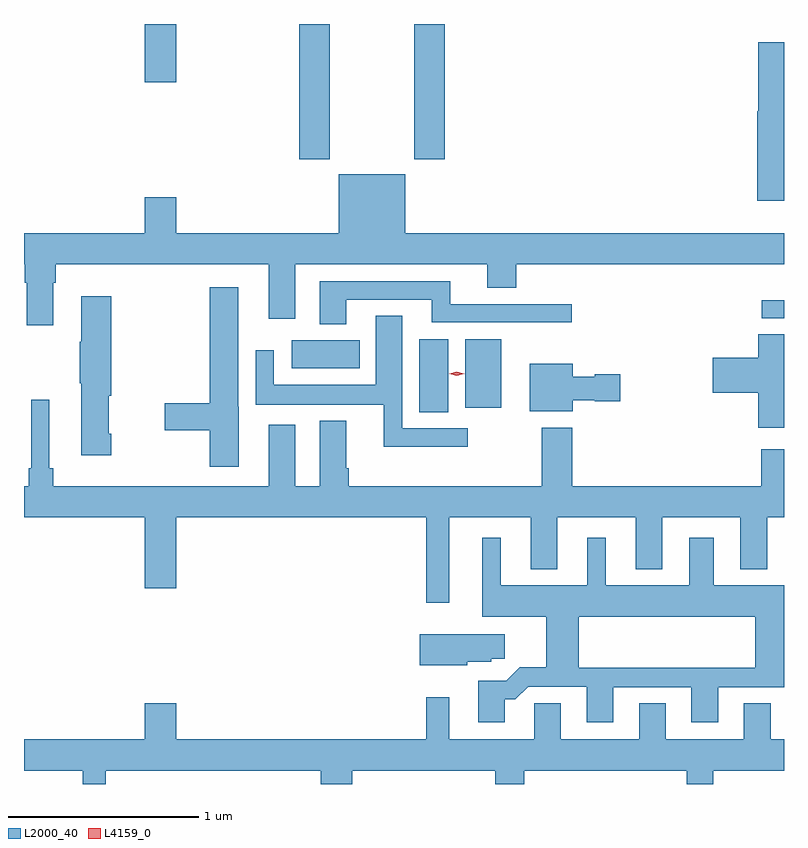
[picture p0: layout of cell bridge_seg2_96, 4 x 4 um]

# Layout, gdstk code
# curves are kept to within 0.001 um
import gdstk
lib = gdstk.Library(unit=1e-6, precision=1e-09)
def R(c, l, rs):  # rectangles x0, y0, x1, y1
    for r in rs: c.add(gdstk.rectangle(r[:2], r[2:], *l))
def P(c, l, *ps):  # polygons
    for p in ps: c.add(gdstk.Polygon(p, *l))
L2000_40 = (2000, 40)
L4159_0 = (4159, 0)

bridge_seg2_96 = lib.new_cell('bridge_seg2_96')
R(bridge_seg2_96, L2000_40, [(274.343,621.55,274.498,621.934), (274.586,621.572,274.777,621.934), (273.672,621.782,274.03,621.928), (276.147,622.044,276.264,622.14), (273.713,622.881,273.873,623.593), (274.318,622.881,274.478,623.593), (272.9,623.286,273.064,623.593)])
P(bridge_seg2_96, L2000_40, [(276.264,623.497),(276.128,623.497),(276.128,623.133),(276.122,623.133),(276.122,622.662),(276.264,622.662)],
  [(272.419,622.232),(272.432,622.232),(272.432,622.328),(273.551,622.328),(273.551,622.041),(273.691,622.041),(273.691,622.328),(274.703,622.328),(274.703,622.204),(274.856,622.204),(274.856,622.328),(276.264,622.328),(276.264,622.492),(274.27,622.492),(274.27,622.801),(273.92,622.801),(273.92,622.492),(273.064,622.492),(273.064,622.681),(272.9,622.681),(272.9,622.492),(272.264,622.492),(272.264,622.328),(272.267,622.328),(272.267,622.232),(272.279,622.232),(272.279,622.008),(272.419,622.008)],
  [(273.961,622.143),(274.409,622.143),(274.409,622.023),(274.873,622.023),(274.873,622.022),(275.146,622.022),(275.146,622.119),(274.508,622.119),(274.508,622.239),(273.821,622.239),(273.821,622.014),(273.961,622.014)],
  [(273.394,621.579),(273.391,621.579),(273.391,622.207),(273.242,622.207),(273.242,621.596),(273.006,621.596),(273.006,621.454),(273.242,621.454),(273.242,621.264),(273.394,621.264)],
  [(272.723,621.436),(272.71,621.436),(272.71,621.636),(272.723,621.636),(272.723,622.159),(272.564,622.159),(272.564,621.92),(272.557,621.92),(272.557,621.703),(272.564,621.703),(272.564,621.324),(272.723,621.324)],
  [(274.6,621.465),(274.255,621.465),(274.255,622.058),(274.115,622.058),(274.115,621.694),(273.579,621.694),(273.579,621.877),(273.483,621.877),(273.483,621.59),(274.157,621.59),(274.157,621.368),(274.6,621.368)],
  [(276.264,621.959),(276.128,621.959),(276.128,621.836),(275.889,621.836),(275.889,621.653),(276.128,621.653),(276.128,621.468),(276.264,621.468)],
  [(275.152,621.614),(275.268,621.614),(275.268,621.607),(275.401,621.607),(275.401,621.749),(275.268,621.749),(275.268,621.736),(275.152,621.736),(275.152,621.805),(274.925,621.805),(274.925,621.554),(275.152,621.554)],
  [(275.15,621.469),(274.99,621.469),(274.99,621.16),(273.974,621.16),(273.974,621.256),(273.961,621.256),(273.961,621.505),(273.821,621.505),(273.821,621.16),(273.691,621.16),(273.691,621.484),(273.551,621.484),(273.551,621.16),(272.417,621.16),(272.417,621.256),(272.398,621.256),(272.398,621.616),(272.301,621.616),(272.301,621.256),(272.288,621.256),(272.288,621.16),(272.264,621.16),(272.264,620.996),(272.9,620.996),(272.9,620.622),(273.064,620.622),(273.064,620.996),(274.38,620.996),(274.38,620.547),(274.501,620.547),(274.501,620.996),(274.931,620.996),(274.931,620.723),(275.071,620.723),(275.071,620.996),(275.483,620.996),(275.483,620.723),(275.623,620.723),(275.623,620.996),(276.035,620.996),(276.035,620.723),(276.175,620.723),(276.175,620.996),(276.264,620.996),(276.264,621.355),(276.143,621.355),(276.143,621.16),(275.15,621.16)],
  [(274.655,620.136),(274.655,619.917),(274.795,619.917),(274.795,620.039),(274.85,620.039),(274.917,620.106),(275.225,620.106),(275.225,619.917),(275.365,619.917),(275.365,620.103),(275.777,620.103),(275.777,619.917),(275.917,619.917),(275.917,620.103),(276.264,620.103),(276.264,620.638),(275.893,620.638),(275.893,620.89),(275.765,620.89),(275.765,620.638),(275.326,620.638),(275.326,620.89),(275.228,620.89),(275.228,620.638),(274.774,620.638),(274.774,620.89),(274.676,620.89),(274.676,620.474),(275.012,620.474),(275.012,620.207),(274.874,620.207),(274.871,620.204),(275.183,620.204),(275.183,620.474),(276.113,620.474),(276.113,620.204),(274.871,620.204),(274.803,620.136)],
  [(274.596,620.237),(274.722,620.237),(274.722,620.251),(274.795,620.251),(274.795,620.38),(274.346,620.38),(274.346,620.219),(274.596,620.219)],
  [(272.695,619.664),(273.827,619.664),(273.827,619.593),(273.992,619.593),(273.992,619.664),(274.745,619.664),(274.745,619.593),(274.897,619.593),(274.897,619.664),(275.753,619.664),(275.753,619.593),(275.892,619.593),(275.892,619.664),(276.264,619.664),(276.264,619.828),(276.193,619.828),(276.193,620.018),(276.053,620.018),(276.053,619.828),(275.641,619.828),(275.641,620.018),(275.501,620.018),(275.501,619.828),(275.089,619.828),(275.089,620.018),(274.95,620.018),(274.95,619.828),(274.501,619.828),(274.501,620.05),(274.38,620.05),(274.38,619.828),(273.064,619.828),(273.064,620.017),(272.9,620.017),(272.9,619.828),(272.264,619.828),(272.264,619.664),(272.573,619.664),(272.573,619.593),(272.695,619.593)])
P(bridge_seg2_96, L4159_0, [(274.542,621.742),(274.502,621.752),(274.502,621.752),(274.502,621.752),(274.542,621.762),(274.581,621.752),(274.581,621.752),(274.581,621.752)])

lib.write_gds('bridge_seg2_96.gds')
